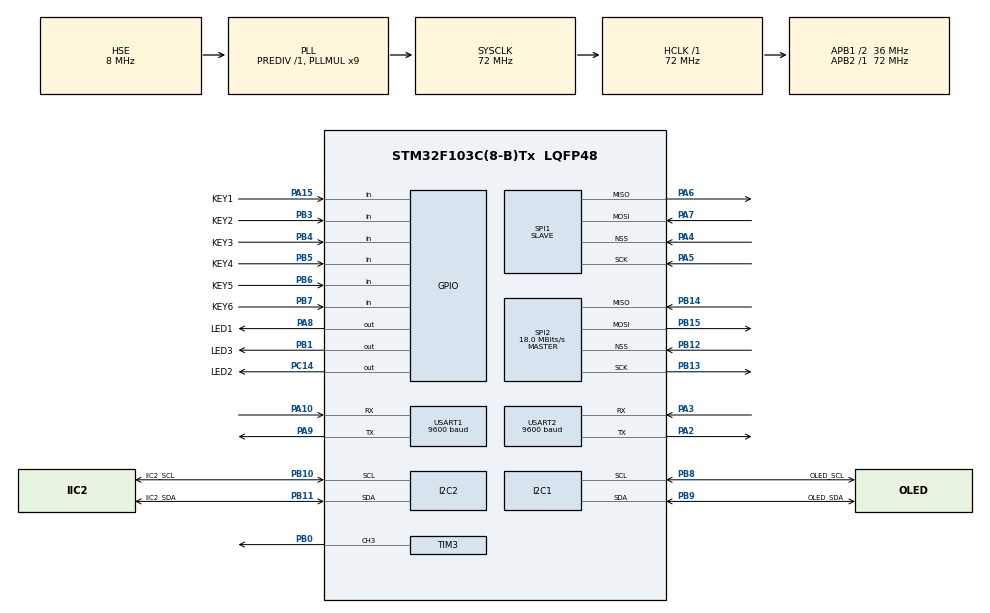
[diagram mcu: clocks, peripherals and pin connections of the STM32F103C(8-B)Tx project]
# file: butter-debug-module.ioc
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Dma.Request0=USART1_RX
Dma.Request1=USART1_TX
Dma.Request2=USART2_RX
Dma.Request3=USART2_TX
Dma.USART1_RX.0.Direction=DMA_PERIPH_TO_MEMORY
Dma.USART1_RX.0.Instance=DMA1_Channel5
Dma.USART1_RX.0.MemDataAlignment=DMA_MDATAALIGN_BYTE
Dma.USART1_RX.0.MemInc=DMA_MINC_ENABLE
Dma.USART1_RX.0.Mode=DMA_NORMAL
Dma.USART1_RX.0.PeriphDataAlignment=DMA_PDATAALIGN_BYTE
Dma.USART1_RX.0.PeriphInc=DMA_PINC_DISABLE
Dma.USART1_RX.0.Priority=DMA_PRIORITY_LOW
Dma.USART1_TX.1.Direction=DMA_MEMORY_TO_PERIPH
Dma.USART1_TX.1.Instance=DMA1_Channel4
Dma.USART1_TX.1.MemDataAlignment=DMA_MDATAALIGN_BYTE
Dma.USART1_TX.1.MemInc=DMA_MINC_ENABLE
Dma.USART1_TX.1.Mode=DMA_NORMAL
Dma.USART1_TX.1.PeriphDataAlignment=DMA_PDATAALIGN_BYTE
Dma.USART1_TX.1.PeriphInc=DMA_PINC_DISABLE
Dma.USART1_TX.1.Priority=DMA_PRIORITY_LOW
Dma.USART2_RX.2.Direction=DMA_PERIPH_TO_MEMORY
Dma.USART2_RX.2.Instance=DMA1_Channel6
Dma.USART2_RX.2.MemDataAlignment=DMA_MDATAALIGN_BYTE
Dma.USART2_RX.2.MemInc=DMA_MINC_ENABLE
Dma.USART2_RX.2.Mode=DMA_NORMAL
Dma.USART2_RX.2.PeriphDataAlignment=DMA_PDATAALIGN_BYTE
Dma.USART2_RX.2.PeriphInc=DMA_PINC_DISABLE
Dma.USART2_RX.2.Priority=DMA_PRIORITY_LOW
Dma.USART2_TX.3.Direction=DMA_MEMORY_TO_PERIPH
Dma.USART2_TX.3.Instance=DMA1_Channel7
Dma.USART2_TX.3.MemDataAlignment=DMA_MDATAALIGN_BYTE
Dma.USART2_TX.3.MemInc=DMA_MINC_ENABLE
Dma.USART2_TX.3.Mode=DMA_NORMAL
Dma.USART2_TX.3.PeriphDataAlignment=DMA_PDATAALIGN_BYTE
Dma.USART2_TX.3.PeriphInc=DMA_PINC_DISABLE
Dma.USART2_TX.3.Priority=DMA_PRIORITY_LOW
FREERTOS.INCLUDE_vTaskDelayUntil=1
FREERTOS.Queues01=queuekey1,16,uint8_t,0,Dynamic,NULL,NULL
FREERTOS.Tasks01=defaultTask,0,128,StartDefaultTask,Default,NULL,Dynamic,NULL,NULL;Buzzer_task,0,128,buzzer_task,As external,NULL,Dynamic,NULL,NULL;Button_task,0,128,button_task,As external,NULL,Dynamic,NULL,NULL;LED2_task,0,128,led2_task,As external,NULL,Dynamic,NULL,NULL;LED3_task,0,128,led3_task,As external,NULL,Dynamic,NULL,NULL;LED1_task,0,128,led1_task,As external,NULL,Dynamic,NULL,NULL;OLED_Task,0,128,OLED_task,As external,NULL,Dynamic,NULL,NULL
FREERTOS.configMAX_PRIORITIES=32
FREERTOS.configTOTAL_HEAP_SIZE=4532
FREERTOS.configUSE_COUNTING_SEMAPHORES=1
FREERTOS.configUSE_IDLE_HOOK=0
FREERTOS.configUSE_PREEMPTION=1
FREERTOS.configUSE_RECURSIVE_MUTEXES=1
FREERTOS.configUSE_TASK_NOTIFICATIONS=1
FREERTOS.configUSE_TRACE_FACILITY=1
Mcu.Family=STM32F1
Mcu.Name=STM32F103C(8-B)Tx
Mcu.Package=LQFP48
NVIC.DMA1_Channel4_IRQn=true\:5\:0\:true\:false\:true\:true\:false\:true\:true
NVIC.DMA1_Channel5_IRQn=true\:5\:0\:true\:false\:true\:true\:false\:true\:true
NVIC.DMA1_Channel6_IRQn=true\:5\:0\:false\:false\:true\:true\:false\:true\:true
NVIC.DMA1_Channel7_IRQn=true\:5\:0\:false\:false\:true\:true\:false\:true\:true
NVIC.PriorityGroup=NVIC_PRIORITYGROUP_4
NVIC.TIM1_UP_IRQn=true\:15\:0\:false\:false\:true\:false\:false\:true\:true
NVIC.TIM2_IRQn=true\:5\:0\:true\:false\:true\:true\:true\:true\:true
NVIC.TIM3_IRQn=true\:5\:0\:true\:false\:true\:true\:true\:true\:true
NVIC.TimeBase=TIM1_UP_IRQn
NVIC.TimeBaseIP=TIM1
NVIC.USART1_IRQn=true\:5\:0\:true\:false\:true\:true\:true\:true\:true
NVIC.USART2_IRQn=true\:5\:0\:true\:false\:true\:true\:true\:true\:true
PA10.GPIO_PuPd=GPIO_PULLUP
PA10.Mode=Asynchronous
PA10.Signal=USART1_RX
PA13.Mode=Serial_Wire
PA13.Signal=SYS_JTMS-SWDIO
PA14.Mode=Serial_Wire
PA14.Signal=SYS_JTCK-SWCLK
PA15.GPIO_Label=KEY1
PA15.GPIO_PuPd=GPIO_PULLUP
PA15.Signal=GPIO_Input
PA2.Mode=Asynchronous
PA2.Signal=USART2_TX
PA3.Mode=Asynchronous
PA3.Signal=USART2_RX
PA4.Mode=NSS_Signal_Hard_Input
PA4.Signal=SPI1_NSS
PA5.Mode=Full_Duplex_Slave
PA5.Signal=SPI1_SCK
PA6.Mode=Full_Duplex_Slave
PA6.Signal=SPI1_MISO
PA7.Mode=Full_Duplex_Slave
PA7.Signal=SPI1_MOSI
PA8.GPIO_Label=LED1
PA8.GPIO_ModeDefaultOutputPP=GPIO_MODE_OUTPUT_PP
PA8.GPIO_PuPd=GPIO_PULLUP
PA8.GPIO_Speed=GPIO_SPEED_FREQ_MEDIUM
PA8.PinState=GPIO_PIN_RESET
PA8.Signal=GPIO_Output
PA9.Mode=Asynchronous
PA9.Signal=USART1_TX
PB0.Signal=S_TIM3_CH3
PB1.GPIO_Label=LED3
PB1.GPIO_PuPd=GPIO_PULLUP
PB1.GPIO_Speed=GPIO_SPEED_FREQ_MEDIUM
PB1.Signal=GPIO_Output
PB10.GPIO_Label=IIC2_SCL
PB10.Mode=I2C
PB10.Signal=I2C2_SCL
PB11.GPIO_Label=IIC2_SDA
PB11.Mode=I2C
PB11.Signal=I2C2_SDA
PB12.Mode=NSS_Signal_Hard_Input
PB12.Signal=SPI2_NSS
PB13.Mode=Full_Duplex_Master
PB13.Signal=SPI2_SCK
PB14.Mode=Full_Duplex_Master
PB14.Signal=SPI2_MISO
PB15.Mode=Full_Duplex_Master
PB15.Signal=SPI2_MOSI
PB3.GPIO_Label=KEY2
PB3.GPIO_PuPd=GPIO_PULLUP
PB3.Signal=GPIO_Input
PB4.GPIO_Label=KEY3
PB4.GPIO_PuPd=GPIO_PULLUP
PB4.Signal=GPIO_Input
PB5.GPIO_Label=KEY4
PB5.GPIO_PuPd=GPIO_PULLUP
PB5.Signal=GPIO_Input
PB6.GPIO_Label=KEY5
PB6.GPIO_PuPd=GPIO_PULLUP
PB6.Signal=GPIO_Input
PB7.GPIO_Label=KEY6
PB7.GPIO_PuPd=GPIO_PULLUP
PB7.Signal=GPIO_Input
PB8.GPIO_Label=OLED_SCL
PB8.Mode=I2C
PB8.Signal=I2C1_SCL
PB9.GPIO_Label=OLED_SDA
PB9.Mode=I2C
PB9.Signal=I2C1_SDA
PC14-OSC32_IN.GPIO_Label=LED2
PC14-OSC32_IN.GPIO_ModeDefaultOutputPP=GPIO_MODE_OUTPUT_PP
PC14-OSC32_IN.GPIO_PuPd=GPIO_PULLUP
PC14-OSC32_IN.GPIO_Speed=GPIO_SPEED_FREQ_MEDIUM
PC14-OSC32_IN.PinState=GPIO_PIN_RESET
PC14-OSC32_IN.Signal=GPIO_Output
PD0-OSC_IN.Mode=HSE-External-Oscillator
PD0-OSC_IN.Signal=RCC_OSC_IN
PD1-OSC_OUT.Mode=HSE-External-Oscillator
PD1-OSC_OUT.Signal=RCC_OSC_OUT
ProjectManager.HeapSize=0x200
ProjectManager.StackSize=0x400
ProjectManager.TargetToolchain=MDK-ARM V5.32
RCC.AHBFreq_Value=72000000
RCC.APB1CLKDivider=RCC_HCLK_DIV2
RCC.APB1Freq_Value=36000000
RCC.APB1TimFreq_Value=72000000
RCC.APB2Freq_Value=72000000
RCC.APB2TimFreq_Value=72000000
RCC.HCLKFreq_Value=72000000
RCC.PLLMUL=RCC_PLL_MUL9
RCC.PLLSourceVirtual=RCC_PLLSOURCE_HSE
RCC.SYSCLKFreq_VALUE=72000000
RCC.SYSCLKSource=RCC_SYSCLKSOURCE_PLLCLK
RCC.USBFreq_Value=48000000
RCC.USBPrescaler=RCC_USBCLKSOURCE_PLL_DIV1_5
SH.S_TIM3_CH3.0=TIM3_CH3,PWM Generation3 CH3
SPI1.DataSize=SPI_DATASIZE_16BIT
SPI1.Direction=SPI_DIRECTION_2LINES
SPI1.Mode=SPI_MODE_SLAVE
SPI1.VirtualNSS=VM_NSSHARD
SPI1.VirtualType=VM_SLAVE
SPI2.CalculateBaudRate=18.0 MBits/s
SPI2.Direction=SPI_DIRECTION_2LINES
SPI2.Mode=SPI_MODE_MASTER
SPI2.VirtualNSS=VM_NSSHARD
SPI2.VirtualType=VM_MASTER
TIM2.AutoReloadPreload=TIM_AUTORELOAD_PRELOAD_ENABLE
TIM2.Period=7200-1
TIM2.Prescaler=200-1
TIM3.Channel-PWM\ Generation3\ CH3=TIM_CHANNEL_3
USART1.BaudRate=9600
USART1.VirtualMode=VM_ASYNC
USART2.BaudRate=9600
USART2.VirtualMode=VM_ASYNC
VP_CRC_VS_CRC.Mode=CRC_Activate
VP_FREERTOS_VS_CMSIS_V1.Mode=CMSIS_V1
VP_SYS_VS_tim1.Mode=TIM1
VP_TIM2_VS_ClockSourceINT.Mode=Internal
VP_TIM3_VS_ClockSourceINT.Mode=Internal
board=custom

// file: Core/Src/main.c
/* USER CODE BEGIN Header */
/**
  ******************************************************************************
  * @file           : main.c
  * @brief          : Main program body
  ******************************************************************************
  * @attention
  *
  * Copyright (c) 2024 STMicroelectronics.
  * All rights reserved.
  *
  * This software is licensed under terms that can be found in the LICENSE file
  * in the root directory of this software component.
  * If no LICENSE file comes with this software, it is provided AS-IS.
  *
  ******************************************************************************
  */
/* USER CODE END Header */
#include "main.h"
#include "cmsis_os.h"
#include "crc.h"
#include "dma.h"
#include "i2c.h"
#include "spi.h"
#include "tim.h"
#include "usart.h"
#include "gpio.h"

/* USER CODE BEGIN Includes */
#include "stdio.h"
#include "bsp_usart.h"
#include "OLED_IIC_Config.h"
#include "OLED_Function.h"
#include "OLED_Front.h"
#include "Buzzer.h"
#include "KEY.h"
#include "multi_button.h"
#include "self_def_massage.h"
#include "ring_buffer.h"
#include "elog.h"
#include "elog_cfg.h"
#include "shell_port.h"
#include "button_motor.h"
/* USER CODE END Includes */

/* USER CODE BEGIN PTD */
//#define LOG_TAG  "main"
extern uint8_t DataBuff[BUF_SIZE];
extern DMA_HandleTypeDef hdma_usart1_rx;
//extern uint8_t KEY_flag;
//extern struct Button KEY_1;
extern uint8_t ringbuff[RING_BUFF_SIZE];
extern stRingBuff Ring_Buff;
/* USER CODE END PTD */

/* USER CODE BEGIN PD */
	#define LOG_TAG         "main"

/* USER CODE END PD */

void SystemClock_Config(void);
void MX_FREERTOS_Init(void);
/* USER CODE BEGIN PFP */
int fputc(int ch, FILE *f)
{
  HAL_UART_Transmit(&huart1, (uint8_t *)&ch, 1, 0xffff);
  return ch;
}

int fgetc(FILE *f)
{
  uint8_t ch = 0;
  HAL_UART_Receive(&huart1, &ch, 1, 0xffff);
  return ch;
}
/* USER CODE END PFP */

/* USER CODE BEGIN 0 */
int varInt = 0;
SHELL_EXPORT_VAR(SHELL_CMD_PERMISSION(0)|SHELL_CMD_TYPE(SHELL_TYPE_VAR_INT), varInt, &varInt, test);

char str[] = "test string";
SHELL_EXPORT_VAR(SHELL_CMD_PERMISSION(0)|SHELL_CMD_TYPE(SHELL_TYPE_VAR_STRING), varStr, str, test);

/* USER CODE END 0 */

int main(void)
{

  /* MCU Configuration--------------------------------------------------------*/

  /* Reset of all peripherals, Initializes the Flash interface and the Systick. */
  HAL_Init();

  /* Configure the system clock */
  SystemClock_Config();

  /* Initialize all configured peripherals */
  MX_GPIO_Init();
  MX_DMA_Init();
  MX_I2C1_Init();
  MX_I2C2_Init();
  MX_SPI1_Init();
  MX_SPI2_Init();
  MX_TIM2_Init();
  MX_TIM3_Init();
  MX_USART1_UART_Init();
  MX_USART2_UART_Init();
  MX_CRC_Init();
  /* USER CODE BEGIN 2 */

   Buttonmotorinit();//初始化

  /* USER CODE END 2 */

  /* Call init function for freertos objects (in freertos.c) */
  MX_FREERTOS_Init();

  /* Start scheduler */
  osKernelStart();

  /* We should never get here as control is now taken by the scheduler */
  /* Infinite loop */
  while (1)
  {

  }
}

void SystemClock_Config(void)
{
  RCC_OscInitTypeDef RCC_OscInitStruct = {0};
  RCC_ClkInitTypeDef RCC_ClkInitStruct = {0};

  /** Initializes the RCC Oscillators according to the specified parameters
  * in the RCC_OscInitTypeDef structure.
  */
  RCC_OscInitStruct.OscillatorType = RCC_OSCILLATORTYPE_HSE;
  RCC_OscInitStruct.HSEState = RCC_HSE_ON;
  RCC_OscInitStruct.HSEPredivValue = RCC_HSE_PREDIV_DIV1;
  RCC_OscInitStruct.HSIState = RCC_HSI_ON;
  RCC_OscInitStruct.PLL.PLLState = RCC_PLL_ON;
  RCC_OscInitStruct.PLL.PLLSource = RCC_PLLSOURCE_HSE;
  RCC_OscInitStruct.PLL.PLLMUL = RCC_PLL_MUL9;
  if (HAL_RCC_OscConfig(&RCC_OscInitStruct) != HAL_OK)
  {
    Error_Handler();
  }

  /** Initializes the CPU, AHB and APB buses clocks
  */
  RCC_ClkInitStruct.ClockType = RCC_CLOCKTYPE_HCLK|RCC_CLOCKTYPE_SYSCLK
                              |RCC_CLOCKTYPE_PCLK1|RCC_CLOCKTYPE_PCLK2;
  RCC_ClkInitStruct.SYSCLKSource = RCC_SYSCLKSOURCE_PLLCLK;
  RCC_ClkInitStruct.AHBCLKDivider = RCC_SYSCLK_DIV1;
  RCC_ClkInitStruct.APB1CLKDivider = RCC_HCLK_DIV2;
  RCC_ClkInitStruct.APB2CLKDivider = RCC_HCLK_DIV1;

  if (HAL_RCC_ClockConfig(&RCC_ClkInitStruct, FLASH_LATENCY_2) != HAL_OK)
  {
    Error_Handler();
  }
}

void HAL_TIM_PeriodElapsedCallback(TIM_HandleTypeDef *htim)
{
  if (htim->Instance == TIM1) {
    HAL_IncTick();
  }
}

void Error_Handler(void)
{
  __disable_irq();
  while (1)
  {
  }
}

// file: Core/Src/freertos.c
/* USER CODE BEGIN Header */
/**
  ******************************************************************************
  * File Name          : freertos.c
  * Description        : Code for freertos applications
  ******************************************************************************
  * @attention
  *
  * Copyright (c) 2024 STMicroelectronics.
  * All rights reserved.
  *
  * This software is licensed under terms that can be found in the LICENSE file
  * in the root directory of this software component.
  * If no LICENSE file comes with this software, it is provided AS-IS.
  *
  ******************************************************************************
  */
/* USER CODE END Header */

#include "FreeRTOS.h"
#include "task.h"
#include "main.h"
#include "cmsis_os.h"

osThreadId defaultTaskHandle;
osThreadId Buzzer_taskHandle;
osThreadId Button_taskHandle;
osThreadId LED2_taskHandle;
osThreadId LED3_taskHandle;
osThreadId LED1_taskHandle;
osThreadId OLED_TaskHandle;
osMessageQId queuekey1Handle;

void StartDefaultTask(void const * argument);
extern void buzzer_task(void const * argument);
extern void button_task(void const * argument);
extern void led2_task(void const * argument);
extern void led3_task(void const * argument);
extern void led1_task(void const * argument);
extern void OLED_task(void const * argument);

void MX_FREERTOS_Init(void); /* (MISRA C 2004 rule 8.1) */

/* GetIdleTaskMemory prototype (linked to static allocation support) */
void vApplicationGetIdleTaskMemory( StaticTask_t **ppxIdleTaskTCBBuffer, StackType_t **ppxIdleTaskStackBuffer, uint32_t *pulIdleTaskStackSize );

/* USER CODE BEGIN GET_IDLE_TASK_MEMORY */
static StaticTask_t xIdleTaskTCBBuffer;
static StackType_t xIdleStack[configMINIMAL_STACK_SIZE];

void vApplicationGetIdleTaskMemory( StaticTask_t **ppxIdleTaskTCBBuffer, StackType_t **ppxIdleTaskStackBuffer, uint32_t *pulIdleTaskStackSize )
{
  *ppxIdleTaskTCBBuffer = &xIdleTaskTCBBuffer;
  *ppxIdleTaskStackBuffer = &xIdleStack[0];
  *pulIdleTaskStackSize = configMINIMAL_STACK_SIZE;
  /* place for user code */
}
/* USER CODE END GET_IDLE_TASK_MEMORY */

void MX_FREERTOS_Init(void) {

  /* Create the queue(s) */
  /* definition and creation of queuekey1 */
  osMessageQDef(queuekey1, 16, uint8_t);
  queuekey1Handle = osMessageCreate(osMessageQ(queuekey1), NULL);

  /* Create the thread(s) */
  /* definition and creation of defaultTask */
  osThreadDef(defaultTask, StartDefaultTask, osPriorityNormal, 0, 128);
  defaultTaskHandle = osThreadCreate(osThread(defaultTask), NULL);

  /* definition and creation of Buzzer_task */
  osThreadDef(Buzzer_task, buzzer_task, osPriorityNormal, 0, 128);
  Buzzer_taskHandle = osThreadCreate(osThread(Buzzer_task), NULL);

  /* definition and creation of Button_task */
  osThreadDef(Button_task, button_task, osPriorityNormal, 0, 128);
  Button_taskHandle = osThreadCreate(osThread(Button_task), NULL);

  /* definition and creation of LED2_task */
  osThreadDef(LED2_task, led2_task, osPriorityNormal, 0, 128);
  LED2_taskHandle = osThreadCreate(osThread(LED2_task), NULL);

  /* definition and creation of LED3_task */
  osThreadDef(LED3_task, led3_task, osPriorityNormal, 0, 128);
  LED3_taskHandle = osThreadCreate(osThread(LED3_task), NULL);

  /* definition and creation of LED1_task */
  osThreadDef(LED1_task, led1_task, osPriorityNormal, 0, 128);
  LED1_taskHandle = osThreadCreate(osThread(LED1_task), NULL);

  /* definition and creation of OLED_Task */
  osThreadDef(OLED_Task, OLED_task, osPriorityNormal, 0, 128);
  OLED_TaskHandle = osThreadCreate(osThread(OLED_Task), NULL);

}

void StartDefaultTask(void const * argument)
{
  for(;;)
  {
    osDelay(1);
  }
}
